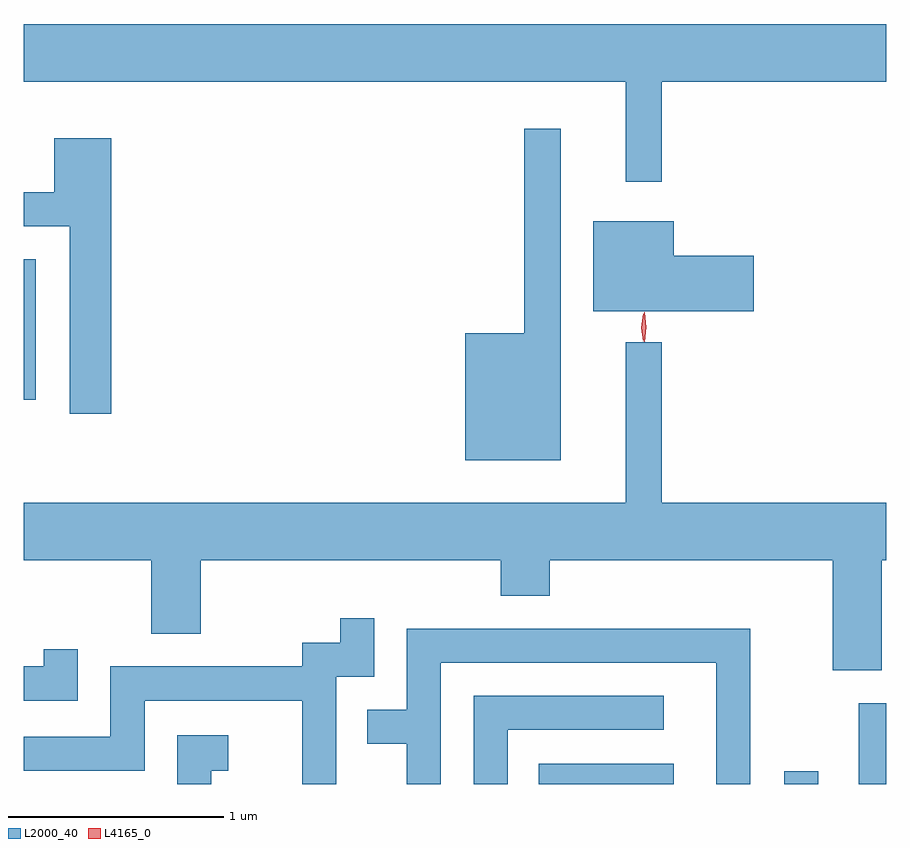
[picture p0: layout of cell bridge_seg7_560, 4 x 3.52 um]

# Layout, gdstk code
import gdstk
lib = gdstk.Library(unit=1e-6, precision=1e-09)
def R(c, l, rs):  # rectangles x0, y0, x1, y1
    for r in rs: c.add(gdstk.rectangle(r[:2], r[2:], *l))
def P(c, l, *ps):  # polygons
    for p in ps: c.add(gdstk.Polygon(p, *l))
L2000_40 = (2000, 40)
L4165_0 = (4165, 0)

bridge_seg7_560 = lib.new_cell('bridge_seg7_560')
R(bridge_seg7_560, L2000_40, [(991.128,1739.919,991.754,1740.014), (992.266,1739.919,992.424,1739.978), (992.611,1739.919,992.739,1740.294), (988.739,1741.701,988.794,1742.354)])
P(bridge_seg7_560, L2000_40, [(991.699,1743.176),(992.739,1743.176),(992.739,1743.444),(988.739,1743.444),(988.739,1743.176),(991.531,1743.176),(991.531,1742.713),(991.699,1742.713)],
  [(991.229,1742.958),(991.061,1742.958),(991.061,1742.009),(990.786,1742.009),(990.786,1741.421),(991.229,1741.421)],
  [(989.144,1742.914),(988.881,1742.914),(988.881,1742.664),(988.739,1742.664),(988.739,1742.506),(988.951,1742.506),(988.951,1741.636),(989.144,1741.636)],
  [(992.124,1742.369),(991.754,1742.369),(991.754,1742.529),(991.381,1742.529),(991.381,1742.111),(992.124,1742.111)],
  [(992.719,1740.956),(992.739,1740.956),(992.739,1741.224),(991.699,1741.224),(991.699,1741.968),(991.531,1741.968),(991.531,1741.224),(988.739,1741.224),(988.739,1740.956),(989.331,1740.956),(989.331,1740.616),(989.559,1740.616),(989.559,1740.956),(990.951,1740.956),(990.951,1740.791),(991.179,1740.791),(991.179,1740.956),(992.491,1740.956),(992.491,1740.446),(992.719,1740.446)],
  [(990.189,1740.416),(990.364,1740.416),(990.364,1740.688),(990.206,1740.688),(990.206,1740.574),(990.031,1740.574),(990.031,1740.464),(989.141,1740.464),(989.141,1740.139),(988.739,1740.139),(988.739,1739.981),(989.299,1739.981),(989.299,1740.306),(990.031,1740.306),(990.031,1739.919),(990.189,1739.919)],
  [(990.674,1740.481),(991.951,1740.481),(991.951,1739.919),(992.109,1739.919),(992.109,1740.639),(990.516,1740.639),(990.516,1740.264),(990.333,1740.264),(990.333,1740.106),(990.516,1740.106),(990.516,1739.919),(990.674,1739.919)],
  [(988.989,1740.543),(988.831,1740.543),(988.831,1740.464),(988.739,1740.464),(988.739,1740.306),(988.989,1740.306)],
  [(990.984,1740.171),(991.708,1740.171),(991.708,1740.329),(990.826,1740.329),(990.826,1739.919),(990.984,1739.919)],
  [(989.609,1739.981),(989.688,1739.981),(989.688,1740.144),(989.451,1740.144),(989.451,1739.919),(989.609,1739.919)])
P(bridge_seg7_560, L4165_0, [(991.611,1741.973),(991.602,1742.036),(991.611,1742.099),(991.611,1742.1),(991.612,1742.099),(991.622,1742.036),(991.612,1741.973),(991.612,1741.973)],
  [(991.617,1741.97),(991.617,1741.97),(991.607,1742.038),(991.617,1742.106),(991.617,1742.106),(991.618,1742.106),(991.627,1742.038),(991.618,1741.97)])

lib.write_gds('bridge_seg7_560.gds')
